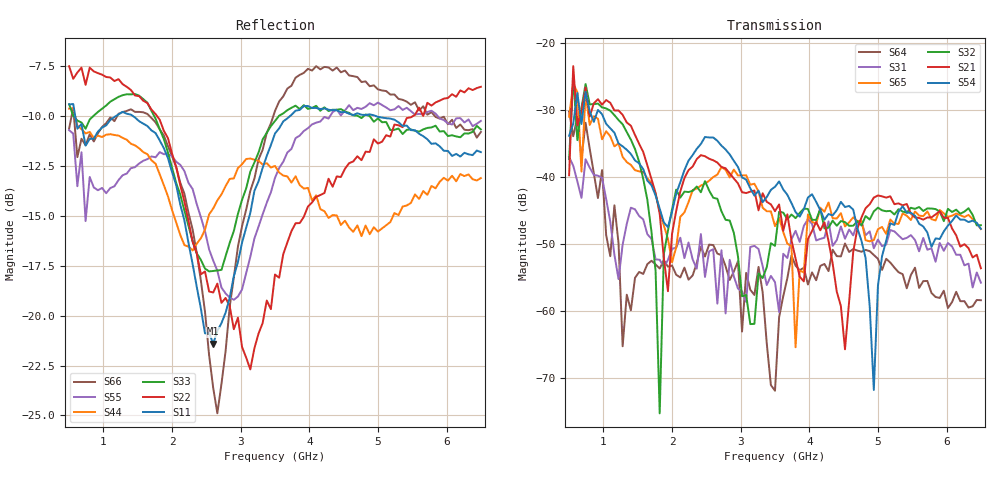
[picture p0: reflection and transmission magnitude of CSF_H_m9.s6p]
!Keysight Technologies,M9804A,MY58100912,A.14.10.03
!Date: Thursday, April 27, 2023 10:28:33
!Correction: S11(C  6-Port  )
!S12(C  6-Port  )
!S13(C  6-Port  )
!S14(C  6-Port  )
!S15(C  6-Port  )
!S16(C  6-Port  )
!S21(C  6-Port  )
!S22(C  6-Port  )
!S23(C  6-Port  )
!S24(C  6-Port  )
!S25(C  6-Port  )
!S26(C  6-Port  )
!S31(C  6-Port  )
!S32(C  6-Port  )
!S33(C  6-Port  )
!S34(C  6-Port  )
!S35(C  6-Port  )
!S36(C  6-Port  )
!S41(C  6-Port  )
!S42(C  6-Port  )
!S43(C  6-Port  )
!S44(C  6-Port  )
!S45(C  6-Port  )
!S46(C  6-Port  )
!S51(C  6-Port  )
!S52(C  6-Port  )
!S53(C  6-Port  )
!S54(C  6-Port  )
!S55(C  6-Port  )
!S56(C  6-Port  )
!S61(C  6-Port  )
!S62(C  6-Port  )
!S63(C  6-Port  )
!S64(C  6-Port  )
!S65(C  6-Port  )
!S66(C  6-Port  )
!S6P File: Measurement: :
# Hz S  RI  R 50
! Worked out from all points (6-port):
!   101 points, 500 MHz to 6.5 GHz, reference 50 ohm
!   strongest paths, dB at 500 MHz, 2 GHz, 3.5 GHz, 5 GHz, 6.5 GHz:
!     S54: -33.9, -45.2, -41.5, -56.3, -47.8
!     S21: -39.8, -48.5, -45.1, -42.8, -53.7
!     S32: -37.4, -44.8, -50.3, -44.6, -47.2
!     S65: -31.0, -52.8, -47.3, -47.8, -47.8
!     S31: -37.0, -50.7, -55.7, -49.4, -55.8
!     S64: -30.3, -53.2, -72.0, -52.2, -58.4
!   lowest |S11| = -21.4 dB at 2.6 GHz (marker M1), VSWR 1.19, Z = 42.4 + j2.17 ohm
!   |S11| at or under -10 dB: 589.9 MHz to 1.175 GHz (585 MHz wide, 66.3 % of centre); 1.436 GHz to 3.715 GHz (2.279 GHz wide, 88.5 % of centre); 4.98 GHz to end of sweep
